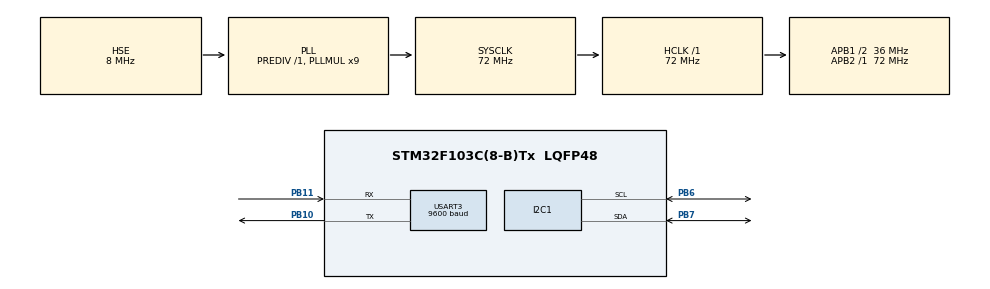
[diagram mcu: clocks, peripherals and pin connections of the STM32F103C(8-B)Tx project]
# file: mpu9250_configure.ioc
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Mcu.Family=STM32F1
Mcu.Name=STM32F103C(8-B)Tx
Mcu.Package=LQFP48
NVIC.PriorityGroup=NVIC_PRIORITYGROUP_4
PA13.Mode=Serial_Wire
PA13.Signal=SYS_JTMS-SWDIO
PA14.Mode=Serial_Wire
PA14.Signal=SYS_JTCK-SWCLK
PB10.Mode=Asynchronous
PB10.Signal=USART3_TX
PB11.Mode=Asynchronous
PB11.Signal=USART3_RX
PB6.Mode=I2C
PB6.Signal=I2C1_SCL
PB7.Mode=I2C
PB7.Signal=I2C1_SDA
PD0-OSC_IN.Mode=HSE-External-Oscillator
PD0-OSC_IN.Signal=RCC_OSC_IN
PD1-OSC_OUT.Mode=HSE-External-Oscillator
PD1-OSC_OUT.Signal=RCC_OSC_OUT
ProjectManager.HeapSize=0x200
ProjectManager.StackSize=0x400
ProjectManager.TargetToolchain=Makefile
RCC.AHBFreq_Value=72000000
RCC.APB1CLKDivider=RCC_HCLK_DIV2
RCC.APB1Freq_Value=36000000
RCC.APB1TimFreq_Value=72000000
RCC.APB2Freq_Value=72000000
RCC.APB2TimFreq_Value=72000000
RCC.CortexFreq_Value=72000000
RCC.HCLKFreq_Value=72000000
RCC.HSE_VALUE=8000000
RCC.HSI_VALUE=8000000
RCC.LSE_VALUE=32768
RCC.PLLMUL=RCC_PLL_MUL9
RCC.PLLSourceVirtual=RCC_PLLSOURCE_HSE
RCC.SYSCLKFreq_VALUE=72000000
RCC.SYSCLKSource=RCC_SYSCLKSOURCE_PLLCLK
RCC.SYSCLKSourceVirtual=RCC_SYSCLKSOURCE_PLLCLK
RCC.USBFreq_Value=72000000
USART3.BaudRate=9600
USART3.VirtualMode=VM_ASYNC
USART3.VirtualMode-Asynchronous=VM_ASYNC
board=custom

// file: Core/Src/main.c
/* USER CODE BEGIN Header */
/**
 ******************************************************************************
 * @file           : main.c
 * @brief          : Main program body
 ******************************************************************************
 * @attention
 *
 * Copyright (c) 2022 STMicroelectronics.
 * All rights reserved.
 *
 * This software is licensed under terms that can be found in the LICENSE file
 * in the root directory of this software component.
 * If no LICENSE file comes with this software, it is provided AS-IS.
 *
 ******************************************************************************
 */
/* USER CODE END Header */
#include "main.h"
#include "i2c.h"
#include "usart.h"
#include "gpio.h"

/* USER CODE BEGIN Includes */
#include "mpu_9250.h"
#include "printf.h"
#include "Fusion/Fusion.h"
/* USER CODE END Includes */

/* USER CODE BEGIN PD */
#define SAMPLE_RATE (100)
#define MSG_MAX_LEN 120
/* USER CODE END PD */

void SystemClock_Config(void);

int main(void)
{
  /* USER CODE BEGIN 1 */
  dataHandleIMU himu1;

  char msg[MSG_MAX_LEN] = {'\0'};
  uint16_t msgLen = 0;

  uint32_t prevPoll = 0;
  uint32_t currPoll = 0;
  /* USER CODE END 1 */

  /* MCU Configuration--------------------------------------------------------*/

  /* Reset of all peripherals, Initializes the Flash interface and the Systick. */
  HAL_Init();

  /* Configure the system clock */
  SystemClock_Config();

  /* Initialize all configured peripherals */
  MX_GPIO_Init();
  MX_I2C1_Init();
  MX_USART3_UART_Init();
  /* USER CODE BEGIN 2 */
  MPU_9250_Init();

  // Define calibration
  // sensitivity and alignment taken into account in mpu_9250.c
  const FusionMatrix gyroscopeMisalignment = {1.0f, 0.0f, 0.0f, 0.0f, 1.0f, 0.0f, 0.0f, 0.0f, 1.0f};
  const FusionVector gyroscopeSensitivity = {1.0f, 1.0f, 1.0f};
  const FusionVector gyroscopeOffset = {26.17f, -9.3f, -3.0f};
  const FusionMatrix accelerometerMisalignment = {1.0f, 0.0f, 0.0f, 0.0f, 1.0f, 0.0f, 0.0f, 0.0f, 1.0f};
  const FusionVector accelerometerSensitivity = {1.0f, 1.0f, 1.0f};
  const FusionVector accelerometerOffset = {-0.005f, 0.025f, -0.07f};
  const FusionMatrix softIronMatrix = {1.0f, 0.0f, 0.0f, 0.0f, 1.0f, 0.0f, 0.0f, 0.0f, 1.0f};
  const FusionVector hardIronOffset = {0.0f, 0.0f, 0.0f};

  // Initialise algorithms
  FusionOffset offset;
  FusionAhrs ahrs;

  FusionOffsetInitialise(&offset, SAMPLE_RATE);
  FusionAhrsInitialise(&ahrs);

  // Set AHRS algorithm settings
  const FusionAhrsSettings settings = {
          .gain = 1.0f,
          .accelerationRejection = 10.0f,
          .magneticRejection = 20.0f,
          .rejectionTimeout = 5 * SAMPLE_RATE, /* 5 seconds */
  };
  FusionAhrsSetSettings(&ahrs, &settings);

  /* USER CODE END 2 */

  /* Infinite loop */
  /* USER CODE BEGIN WHILE */
  while (1) {
    currPoll = HAL_GetTick();

    if ((currPoll - prevPoll) >= (1/SAMPLE_RATE)*1000){
      IMU_measure(&himu1);

      FusionVector gyroscope = {himu1.gx, himu1.gy, himu1.gz}; // gyroscope data in degrees/s
      FusionVector accelerometer = {himu1.ax, himu1.ay, himu1.az}; // accelerometer data in g
      FusionVector magnetometer = {himu1.mx, himu1.my, himu1.mz}; // magnetometer data in arbitrary units

      // Apply calibration
      gyroscope = FusionCalibrationInertial(gyroscope, gyroscopeMisalignment, gyroscopeSensitivity, gyroscopeOffset);
      accelerometer = FusionCalibrationInertial(accelerometer, accelerometerMisalignment, accelerometerSensitivity, accelerometerOffset);
      magnetometer = FusionCalibrationMagnetic(magnetometer, softIronMatrix, hardIronOffset);

      // swap imu axes to axes of system
      gyroscope = FusionAxesSwap(gyroscope, FusionAxesAlignmentPYNXPZ);
      accelerometer = FusionAxesSwap(accelerometer, FusionAxesAlignmentPYNXPZ);
      magnetometer = FusionAxesSwap(magnetometer, FusionAxesAlignmentPYNXPZ);

      // Update gyroscope offset correction algorithm
      gyroscope = FusionOffsetUpdate(&offset, gyroscope);

      // Calculate delta time (in seconds) to account for gyroscope sample clock error
      const float deltaTime = (float) (currPoll - prevPoll) / (float) 1000;

      // Update gyroscope AHRS algorithm
      // FusionAhrsUpdate(&ahrs, gyroscope, accelerometer, magnetometer, deltaTime);

      FusionAhrsUpdateNoMagnetometer(&ahrs, gyroscope, accelerometer, deltaTime);

      // algorithm outputs
      const FusionEuler euler = FusionQuaternionToEuler(FusionAhrsGetQuaternion(&ahrs));
      // const FusionVector earth = FusionAhrsGetEarthAcceleration(&ahrs);

      // print algo outputs
      // msgLen = sprintf_(msg, "[[%0.2f, %0.2f, %0.2f],[%0.2f, %0.2f, %0.2f],[%0.2f, %0.2f, %0.2f]]\n", himu1.ax, himu1.ay, himu1.az, himu1.gx, himu1.gy, himu1.gz, himu1.mx, himu1.my, himu1.mz);

      msgLen = sprintf_(msg,"Roll %0.1f, Pitch %0.1f, Yaw %0.1f\n", euler.angle.roll, euler.angle.pitch, euler.angle.yaw);

      HAL_UART_Transmit(&huart3, (uint8_t *)msg, (uint16_t)msgLen, 0xFFFF);

      prevPoll = currPoll;
    }
    /* USER CODE END WHILE */

  }
}

void SystemClock_Config(void)
{
  RCC_OscInitTypeDef RCC_OscInitStruct = {0};
  RCC_ClkInitTypeDef RCC_ClkInitStruct = {0};

  /** Initializes the RCC Oscillators according to the specified parameters
  * in the RCC_OscInitTypeDef structure.
  */
  RCC_OscInitStruct.OscillatorType = RCC_OSCILLATORTYPE_HSE;
  RCC_OscInitStruct.HSEState = RCC_HSE_ON;
  RCC_OscInitStruct.HSEPredivValue = RCC_HSE_PREDIV_DIV1;
  RCC_OscInitStruct.HSIState = RCC_HSI_ON;
  RCC_OscInitStruct.PLL.PLLState = RCC_PLL_ON;
  RCC_OscInitStruct.PLL.PLLSource = RCC_PLLSOURCE_HSE;
  RCC_OscInitStruct.PLL.PLLMUL = RCC_PLL_MUL9;
  if (HAL_RCC_OscConfig(&RCC_OscInitStruct) != HAL_OK)
  {
    Error_Handler();
  }

  /** Initializes the CPU, AHB and APB buses clocks
  */
  RCC_ClkInitStruct.ClockType = RCC_CLOCKTYPE_HCLK|RCC_CLOCKTYPE_SYSCLK
                              |RCC_CLOCKTYPE_PCLK1|RCC_CLOCKTYPE_PCLK2;
  RCC_ClkInitStruct.SYSCLKSource = RCC_SYSCLKSOURCE_PLLCLK;
  RCC_ClkInitStruct.AHBCLKDivider = RCC_SYSCLK_DIV1;
  RCC_ClkInitStruct.APB1CLKDivider = RCC_HCLK_DIV2;
  RCC_ClkInitStruct.APB2CLKDivider = RCC_HCLK_DIV1;

  if (HAL_RCC_ClockConfig(&RCC_ClkInitStruct, FLASH_LATENCY_2) != HAL_OK)
  {
    Error_Handler();
  }
}

/* USER CODE BEGIN 4 */

// legacy dump

// sprintf_(msg, ">%0.2f, %0.2f, %0.2f;%0.2f, %0.2f, %0.2f;%0.2f, %02f, %0.2f<\n", himu1.ax, himu1.ay, himu1.az, himu1.gx, himu1.gy, himu1.gz, himu1.mx, himu1.my, himu1.mz);

// msgLen = sprintf_(msg, "[[%0.2f, %0.2f, %0.2f],[%0.2f, %0.2f, %0.2f]]\r\n", himu1.ax, himu1.ay, himu1.az, himu1.gx, himu1.gy, himu1.gz);

// msgLen = sprintf_(msg, "[[%0.2f, %0.2f, %0.2f]]\r\n", himu1.ax, himu1.ay, himu1.az);

// HAL_UART_Transmit_IT(&huart3, (uint8_t *)msg, (uint16_t)100);

/* USER CODE END 4 */

void Error_Handler(void)
{
  __disable_irq();
  while (1) {
  }
}

#ifdef  USE_FULL_ASSERT
/**
  * @brief  Reports the name of the source file and the source line number
  *         where the assert_param error has occurred.
  * @param  file: pointer to the source file name
  * @param  line: assert_param error line source number
  * @retval None
  */
void assert_failed(uint8_t *file, uint32_t line)
{
  /* USER CODE BEGIN 6 */
  /* User can add his own implementation to report the file name and line
     number, ex: printf("Wrong parameters value: file %s on line %d\r\n", file,
     line) */
  /* USER CODE END 6 */
}
#endif /* USE_FULL_ASSERT */
